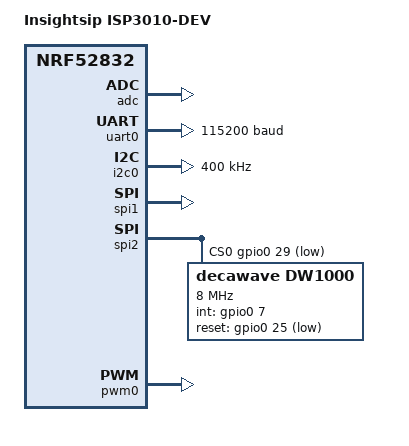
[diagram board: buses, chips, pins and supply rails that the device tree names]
/*
 * Copyright (c) 2022 RedNodeLabs.
 *
 * SPDX-License-Identifier: Apache-2.0
 */

/dts-v1/;
#include <nordic/nrf52832_qfaa.dtsi>
#include "insightsip_isp3010_dev-pinctrl.dtsi"

/ {
	model = "Insightsip ISP3010-DEV";
	compatible = "insightsip,isp3010";

	chosen {
		zephyr,console        = &uart0;
		zephyr,shell-uart     = &uart0;
		zephyr,uart-mcumgr    = &uart0;
		zephyr,bt-mon-uart    = &uart0;
		zephyr,bt-c2h-uart    = &uart0;
		zephyr,sram           = &sram0;
		zephyr,flash          = &flash0;
		zephyr,code-partition = &slot0_partition;
	};

	/* These aliases are provided for compatibility with samples */
	aliases {
		watchdog0 = &wdt0;
	};

};

&adc {
	status = "okay";
};

&gpiote {
	status = "okay";
};

&gpio0 {
	status = "okay";
};

&uart0 {
	status = "okay";
	compatible = "nordic,nrf-uart";
	current-speed = <115200>;
	pinctrl-0 = <&uart0_default>;
	pinctrl-1 = <&uart0_sleep>;
	pinctrl-names = "default", "sleep";
};

&i2c0 {
	compatible = "nordic,nrf-twim";
	status = "okay";
	clock-frequency = <I2C_BITRATE_FAST>;

	pinctrl-0 = <&i2c0_default>;
	pinctrl-1 = <&i2c0_sleep>;
	pinctrl-names = "default", "sleep";
};

&spi1 {
	compatible = "nordic,nrf-spi";
	status = "okay";
	cs-gpios = <&gpio0 3 0>;
	pinctrl-0 = <&spi1_default>;
	pinctrl-1 = <&spi1_sleep>;
	pinctrl-names = "default", "sleep";
};

&spi2 {
	compatible = "nordic,nrf-spi";
	status = "okay";
	cs-gpios = <&gpio0 29 GPIO_ACTIVE_LOW>;

	pinctrl-0 = <&spi2_default>;
	pinctrl-1 = <&spi2_sleep>;
	pinctrl-names = "default", "sleep";
	dw1000@0 {
		compatible = "decawave,dw1000";
		spi-max-frequency = <8000000>;
		int-gpios = <&gpio0 7 GPIO_ACTIVE_HIGH>;	/* P0.07 */
		reset-gpios = <&gpio0 25 GPIO_ACTIVE_LOW>;	/* P0.25 */
		status = "okay";
		reg = <0>;
	};
};

&pwm0 {
	status = "okay";
	pinctrl-0 = <&pwm0_default>;
	pinctrl-1 = <&pwm0_sleep>;
	pinctrl-names = "default", "sleep";
};

&flash0 {

	partitions {
		compatible = "fixed-partitions";
		#address-cells = <1>;
		#size-cells = <1>;

		boot_partition: partition@0 {
			label = "mcuboot";
			reg = <0x00000000 0xc000>;
		};
		slot0_partition: partition@c000 {
			label = "image-0";
			reg = <0x0000C000 0x32000>;
		};
		slot1_partition: partition@3e000 {
			label = "image-1";
			reg = <0x0003E000 0x32000>;
		};
		scratch_partition: partition@70000 {
			label = "image-scratch";
			reg = <0x00070000 0xa000>;
		};
		storage_partition: partition@7a000 {
			label = "storage";
			reg = <0x0007a000 0x00006000>;
		};
	};
};
